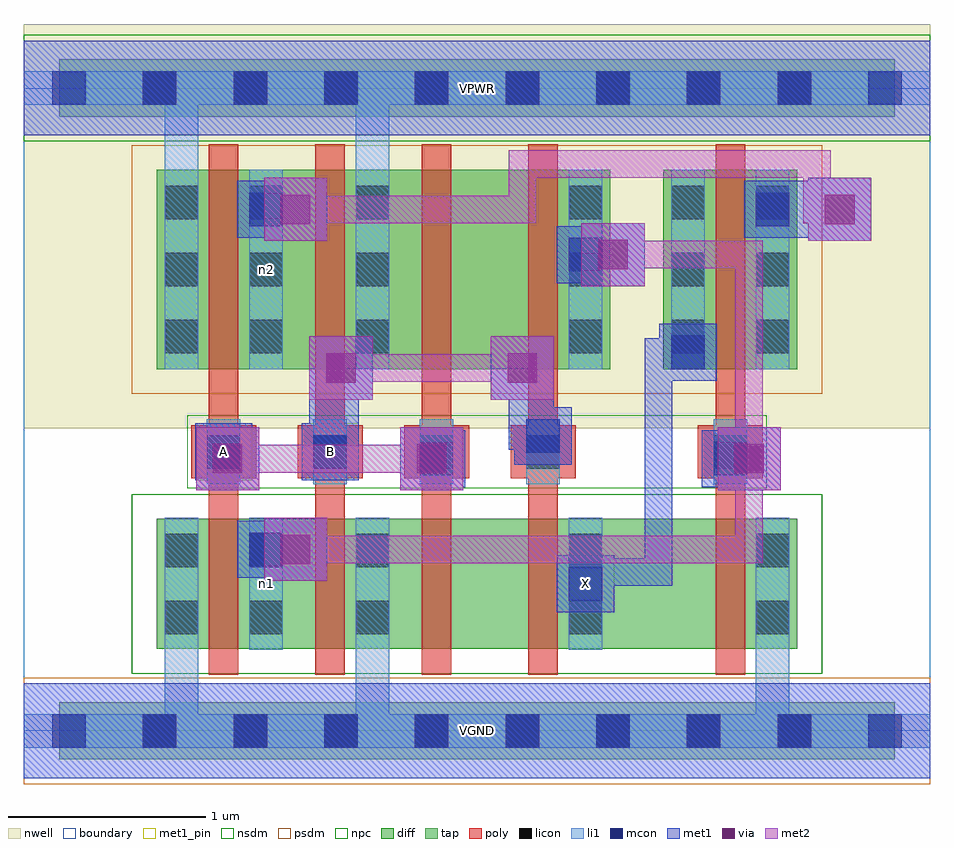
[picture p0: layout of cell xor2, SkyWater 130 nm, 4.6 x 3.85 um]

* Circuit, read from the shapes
.subckt xor2 A B VGND VPWR X n1 n2
XM1 n1 A VGND VGND sky130_fd_pr__nfet_01v8 w=0.66 l=0.15
XM2 VGND B n1 VGND sky130_fd_pr__nfet_01v8 w=0.66 l=0.15
XM3 n3 A VGND VGND sky130_fd_pr__nfet_01v8 w=0.66 l=0.15
XM4 X B n3 VGND sky130_fd_pr__nfet_01v8 w=0.66 l=0.15
XM5 VGND n1 X VGND sky130_fd_pr__nfet_01v8 w=0.66 l=0.15
XM6 n2 A VPWR VPWR sky130_fd_pr__pfet_01v8 w=1.01 l=0.15
XM7 VPWR B n2 VPWR sky130_fd_pr__pfet_01v8 w=1.01 l=0.15
XM8 n4 A VPWR VPWR sky130_fd_pr__pfet_01v8 w=1.01 l=0.15
XM9 n1 B n4 VPWR sky130_fd_pr__pfet_01v8 w=1.01 l=0.15
XM10 n2 n1 X VPWR sky130_fd_pr__pfet_01v8 w=1.01 l=0.15
.ends

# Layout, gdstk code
import gdstk
lib = gdstk.Library(unit=1e-6, precision=1e-09)
def R(c, l, rs):  # rectangles x0, y0, x1, y1
    for r in rs: c.add(gdstk.rectangle(r[:2], r[2:], *l))
def A(c, l, x, y, w, h, nx, ny, dx, dy):  # array of equal rectangles
    R(c, l, [(x+i*dx, y+j*dy, x+i*dx+w, y+j*dy+h) for i in range(nx) for j in range(ny)])
nwell = (64, 20)
diff = (65, 20)
tap = (65, 44)
poly = (66, 20)
licon = (66, 44)
li1 = (67, 20)
mcon = (67, 44)
met1_pin = (68, 16)
met1 = (68, 20)
via = (68, 44)
met2 = (69, 20)
nsdm = (93, 44)
psdm = (94, 20)
npc = (95, 20)
boundary = (235, 4)

xor2 = lib.new_cell('xor2')
R(xor2, nwell, [(0,1.535,4.6,3.585)])
R(xor2, diff, [(0.675,0.415,3.925,1.075), (0.675,1.835,2.975,2.845), (3.245,1.835,3.925,2.845)])
R(xor2, tap, [(0.18,-0.145,4.42,0.145), (0.18,3.115,4.42,3.405)])
A(xor2, poly, 0.94, 0.285, 0.15, 2.69, 4, 1, 0.54, 0)
A(xor2, poly, 0.85, 1.28, 0.33, 0.27, 4, 1, 0.54, 0)
R(xor2, poly, [(3.51,0.285,3.66,2.975), (3.42,1.28,3.75,1.55)])
A(xor2, licon, 0.605, -0.085, 0.17, 0.17, 8, 2, 0.46, 3.26)
A(xor2, licon, 0.93, 1.33, 0.17, 0.17, 4, 1, 0.54, 0)
A(xor2, licon, 0.715, 1.915, 0.17, 0.17, 1, 3, 0, 0.34)
A(xor2, licon, 1.145, 1.915, 0.17, 0.17, 1, 3, 0, 0.34)
A(xor2, licon, 1.685, 1.915, 0.17, 0.17, 1, 3, 0, 0.34)
A(xor2, licon, 2.765, 1.915, 0.17, 0.17, 1, 3, 0, 0.34)
A(xor2, licon, 3.285, 1.915, 0.17, 0.17, 1, 3, 0, 0.34)
A(xor2, licon, 3.715, 1.915, 0.17, 0.17, 1, 3, 0, 0.34)
R(xor2, licon, [(0.715,0.49,0.885,0.66), (1.145,0.49,1.315,0.66), (1.685,0.49,1.855,0.66), (2.765,0.49,2.935,0.66), (3.715,0.49,3.885,0.66), (0.715,0.83,0.885,1), (1.145,0.83,1.315,1), (1.685,0.83,1.855,1), (2.765,0.83,2.935,1), (3.715,0.83,3.885,1), (3.5,1.33,3.67,1.5)])
A(xor2, li1, 0.93, 1.25, 0.17, 0.33, 4, 1, 0.54, 0)
R(xor2, li1, [(0,-0.085,4.6,0.085), (0.715,-0.085,0.885,1.08), (1.685,-0.085,1.855,1.08), (3.715,-0.085,3.885,1.08), (0.715,0.41,0.885,1.08), (1.145,0.41,1.315,1.08), (1.685,0.41,1.855,1.08), (2.765,0.41,2.935,1.08), (3.715,0.41,3.885,1.08), (3.5,1.25,3.67,1.58), (0.715,1.835,0.885,2.845), (0.715,1.835,0.885,3.345), (1.145,1.835,1.315,2.845), (1.685,1.835,1.855,2.845), (1.685,1.835,1.855,3.345), (2.765,1.835,2.935,2.845), (3.285,1.835,3.455,2.845), (3.715,1.835,3.885,2.845), (0,3.175,4.6,3.345)])
A(xor2, mcon, 0.145, -0.085, 0.17, 0.17, 10, 2, 0.46, 3.26)
R(xor2, mcon, [(2.765,0.66,2.935,0.83), (1.145,0.835,1.315,1.005), (2.01,1.295,2.18,1.465), (3.5,1.295,3.67,1.465), (0.93,1.33,1.1,1.5), (1.47,1.33,1.64,1.5), (2.55,1.41,2.72,1.58), (3.285,1.835,3.455,2.005), (2.765,2.33,2.935,2.5), (1.145,2.56,1.315,2.73), (3.715,2.56,3.885,2.73)])
R(xor2, met1_pin, [(0,-0.24,4.6,0.24), (2.705,0.6,2.995,0.89), (0.87,1.27,1.16,1.56), (1.41,1.27,1.7,1.56), (0,3.02,4.6,3.5)])
R(xor2, met1, [(0,-0.24,4.6,0.24), (2.705,0.6,2.995,0.89), (2.805,0.735,2.945,0.875), (2.805,0.735,3.29,0.875), (3.15,0.735,3.29,1.795), (1.22,0.76,1.54,1.08), (1.085,0.775,1.375,1.065), (1.16,0.85,1.45,0.99), (0.875,1.22,1.195,1.54), (1.91,1.22,2.23,1.54), (3.52,1.22,3.84,1.54), (1.95,1.235,2.24,1.525), (3.44,1.235,3.73,1.525), (0.87,1.27,1.16,1.56), (1.41,1.27,1.7,1.56), (0.965,1.31,1.105,1.45), (1.54,1.31,1.68,1.45), (1.54,1.31,1.68,1.91), (2,1.31,2.165,1.45), (3.515,1.31,3.75,1.45), (2.49,1.35,2.78,1.64), (2.46,1.425,2.705,1.565), (2.46,1.425,2.6,1.68), (2.46,1.54,2.6,1.91), (1.45,1.56,1.7,1.68), (2.46,1.565,2.69,1.68), (2.49,1.64,2.69,1.68), (3.15,1.655,3.29,1.99), (1.45,1.68,1.77,2), (2.37,1.68,2.69,2), (3.225,1.775,3.515,2.065), (3.15,1.85,3.44,1.99), (2.83,2.255,3.15,2.575), (2.705,2.27,2.995,2.56), (2.78,2.345,3.06,2.485), (1.22,2.485,1.54,2.805), (3.98,2.485,4.3,2.805), (1.085,2.5,1.375,2.79), (3.655,2.5,3.945,2.79), (3.945,2.5,3.98,2.79), (1.16,2.575,1.45,2.715), (3.73,2.575,3.98,2.715), (3.84,2.575,4.21,2.715), (0,3.02,4.6,3.5)])
R(xor2, via, [(1.305,0.845,1.455,0.995), (0.96,1.305,1.11,1.455), (1.995,1.305,2.145,1.455), (3.605,1.305,3.755,1.455), (1.535,1.765,1.685,1.915), (2.455,1.765,2.605,1.915), (2.915,2.34,3.065,2.49), (1.305,2.57,1.455,2.72), (4.065,2.57,4.215,2.72)])
R(xor2, met2, [(1.22,0.76,1.54,1.08), (1.31,0.85,3.75,0.99), (3.61,0.85,3.75,1.45), (0.875,1.22,1.195,1.54), (1.91,1.22,2.23,1.54), (3.52,1.22,3.84,1.54), (0.965,1.31,2.14,1.45), (3.61,1.31,3.75,2.485), (1.45,1.68,1.77,2), (2.37,1.68,2.69,2), (1.54,1.77,2.6,1.91), (2.83,2.255,3.15,2.575), (2.92,2.345,3.75,2.485), (1.22,2.485,1.54,2.805), (3.98,2.485,4.3,2.805), (1.31,2.575,2.6,2.715), (2.46,2.575,2.6,2.945), (3.955,2.575,4.095,2.945), (3.955,2.575,4.21,2.715), (2.46,2.805,4.095,2.945)])
R(xor2, nsdm, [(0.55,0.29,4.05,1.2), (0,2.99,4.6,3.53)])
R(xor2, psdm, [(0,-0.27,4.6,0.27), (0.55,1.71,4.05,2.97)])
R(xor2, npc, [(0.83,1.23,3.77,1.6)])
R(xor2, boundary, [(0,0,4.6,3.26)])
xor2.add(gdstk.Label('n1', (1.23,0.745), layer=67, texttype=5))
xor2.add(gdstk.Label('n2', (1.23,2.34), layer=67, texttype=5))
xor2.add(gdstk.Label('A', (1.015,1.415), layer=68, texttype=5))
xor2.add(gdstk.Label('B', (1.555,1.415), layer=68, texttype=5))
xor2.add(gdstk.Label('X', (2.85,0.745), layer=68, texttype=5))
xor2.add(gdstk.Label('VPWR', (2.3,3.26), layer=68, texttype=5))
xor2.add(gdstk.Label('VGND', (2.3,0), layer=68, texttype=5))
xor2.add(gdstk.Label('A', (1.015,1.415), layer=68, texttype=16))
xor2.add(gdstk.Label('B', (1.555,1.415), layer=68, texttype=16))
xor2.add(gdstk.Label('X', (2.85,0.745), layer=68, texttype=16))
xor2.add(gdstk.Label('VPWR', (2.3,3.26), layer=68, texttype=16))
xor2.add(gdstk.Label('VGND', (2.3,0), layer=68, texttype=16))

lib.write_gds('xor2.gds')
